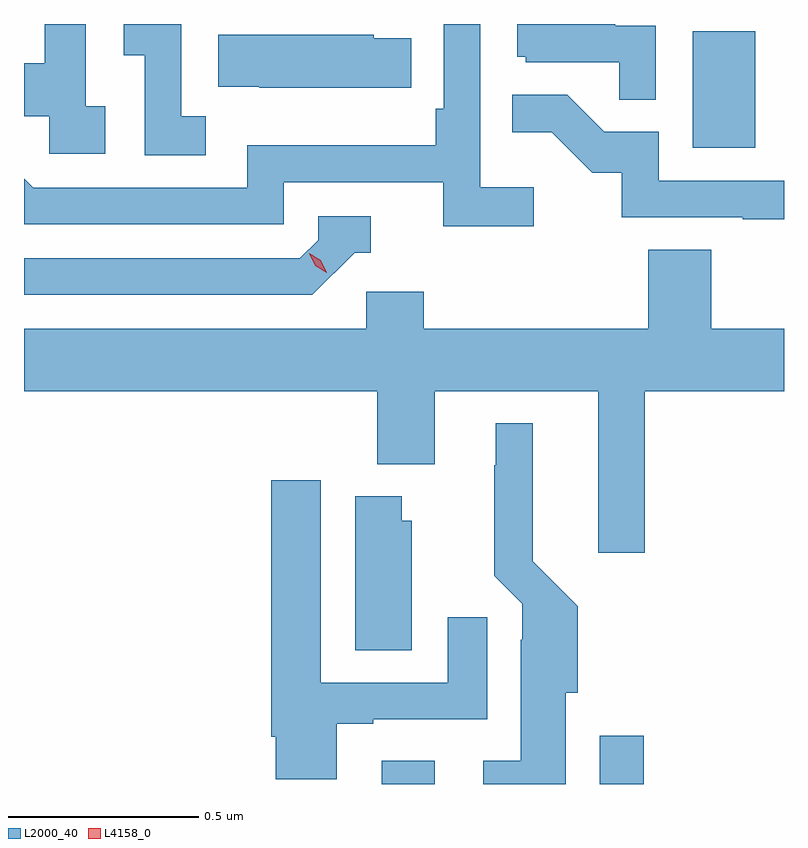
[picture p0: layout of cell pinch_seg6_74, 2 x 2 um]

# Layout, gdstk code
import gdstk
lib = gdstk.Library(unit=1e-6, precision=1e-09)
def R(c, l, rs):  # rectangles x0, y0, x1, y1
    for r in rs: c.add(gdstk.rectangle(r[:2], r[2:], *l))
def P(c, l, *ps):  # polygons
    for p in ps: c.add(gdstk.Polygon(p, *l))
L2000_40 = (2000, 40)
L4158_0 = (4158, 0)

pinch_seg6_74 = lib.new_cell('pinch_seg6_74')
R(pinch_seg6_74, L2000_40, [(893.147,931.65,893.287,931.711), (893.721,931.65,893.837,931.777), (893.966,933.324,894.13,933.631)])
P(pinch_seg6_74, L2000_40, [(892.42,933.434),(892.368,933.434),(892.368,933.65),(892.26,933.65),(892.26,933.547),(892.206,933.547),(892.206,933.407),(892.272,933.407),(892.272,933.309),(892.42,933.309)],
  [(892.684,933.407),(892.62,933.407),(892.62,933.65),(892.469,933.65),(892.469,933.568),(892.524,933.568),(892.524,933.304),(892.684,933.304)],
  [(893.868,933.645),(893.762,933.645),(893.762,933.65),(893.504,933.65),(893.504,933.564),(893.526,933.564),(893.526,933.549),(893.773,933.549),(893.773,933.451),(893.868,933.451)],
  [(893.548,933.22),(893.406,933.22),(893.406,933.65),(893.31,933.65),(893.31,933.427),(893.29,933.427),(893.29,933.331),(892.794,933.331),(892.794,933.219),(892.23,933.219),(892.206,933.243),(892.206,933.123),(892.89,933.123),(892.89,933.234),(893.309,933.234),(893.309,933.118),(893.548,933.118)],
  [(893.225,933.612),(893.127,933.612),(893.127,933.622),(892.717,933.622),(892.717,933.485),(892.825,933.485),(892.825,933.482),(893.225,933.482)],
  [(894.206,933.237),(893.877,933.237),(893.877,933.366),(893.733,933.366),(893.635,933.464),(893.491,933.464),(893.491,933.365),(893.595,933.365),(893.702,933.258),(893.779,933.258),(893.779,933.141),(894.097,933.141),(894.097,933.136),(894.206,933.136)],
  [(893.076,933.048),(893.119,933.048),(893.119,933.144),(892.98,933.144),(892.98,933.081),(892.932,933.033),(892.206,933.033),(892.206,932.937),(892.965,932.937)],
  [(893.84,932.684),(894.206,932.684),(894.206,932.848),(894.014,932.848),(894.014,933.056),(893.849,933.056),(893.849,932.848),(893.258,932.848),(893.258,932.946),(893.106,932.946),(893.106,932.848),(892.206,932.848),(892.206,932.684),(893.135,932.684),(893.135,932.492),(893.287,932.492),(893.287,932.684),(893.717,932.684),(893.717,932.259),(893.84,932.259)],
  [(893.632,931.89),(893.663,931.89),(893.663,932.118),(893.545,932.236),(893.545,932.599),(893.447,932.599),(893.447,932.489),(893.443,932.489),(893.443,932.198),(893.517,932.124),(893.517,932.03),(893.513,932.03),(893.513,931.711),(893.415,931.711),(893.415,931.65),(893.632,931.65)],
  [(893.029,931.809),(893.125,931.809),(893.125,931.821),(893.425,931.821),(893.425,932.089),(893.321,932.089),(893.321,931.917),(892.987,931.917),(892.987,932.449),(892.856,932.449),(892.856,931.774),(892.868,931.774),(892.868,931.662),(893.029,931.662)],
  [(893.227,932.343),(893.2,932.343),(893.2,932.407),(893.078,932.407),(893.078,932.002),(893.227,932.002)])
P(pinch_seg6_74, L4158_0, [(893.003,932.996),(892.972,933.014),(892.956,933.046),(892.956,933.047),(892.956,933.047),(892.987,933.028),(893.003,932.996),(893.003,932.996)])

lib.write_gds('pinch_seg6_74.gds')
